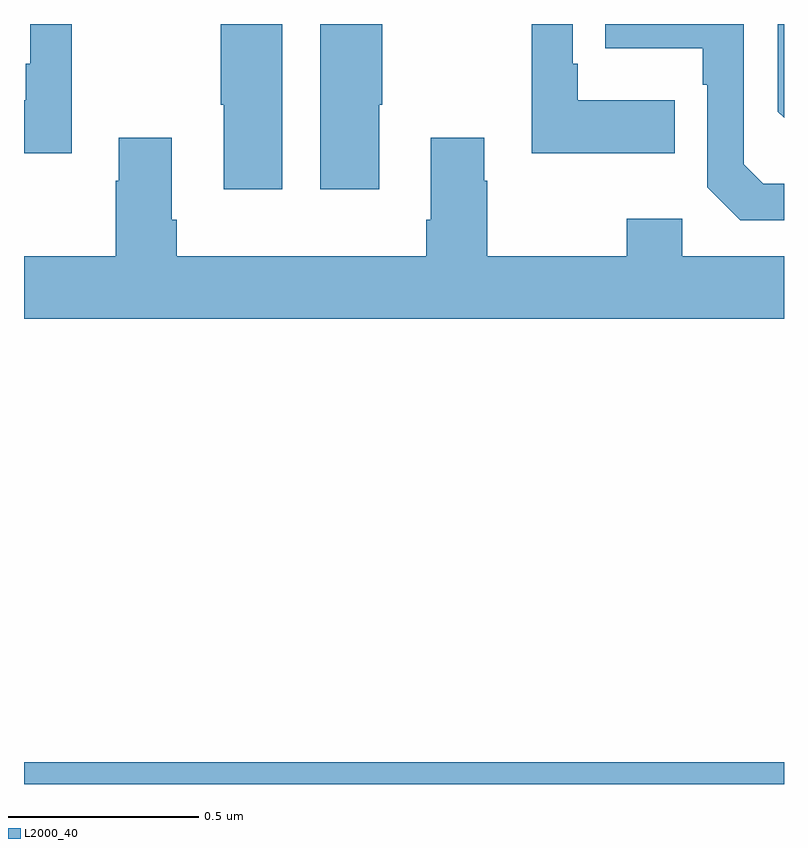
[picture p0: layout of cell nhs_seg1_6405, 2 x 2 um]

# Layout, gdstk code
import gdstk
lib = gdstk.Library(unit=1e-6, precision=1e-09)
def R(c, l, rs):  # rectangles x0, y0, x1, y1
    for r in rs: c.add(gdstk.rectangle(r[:2], r[2:], *l))
def P(c, l, *ps):  # polygons
    for p in ps: c.add(gdstk.Polygon(p, *l))
L2000_40 = (2000, 40)

nhs_seg1_6405 = lib.new_cell('nhs_seg1_6405')
R(nhs_seg1_6405, L2000_40, [(191,525.199,193,525.256)])
P(nhs_seg1_6405, L2000_40, [(193,527.199),(192.984,527.199),(192.984,526.968),(193,526.952)],
  [(192.713,526.999),(192.457,526.999),(192.457,527.095),(192.444,527.095),(192.444,527.199),(192.336,527.199),(192.336,526.859),(192.713,526.859)],
  [(193,526.779),(192.945,526.779),(192.894,526.83),(192.894,527.199),(192.529,527.199),(192.529,527.135),(192.786,527.135),(192.786,527.039),(192.798,527.039),(192.798,526.77),(192.885,526.683),(193,526.683)],
  [(191.68,527.199),(191.518,527.199),(191.518,526.987),(191.525,526.987),(191.525,526.764),(191.68,526.764)],
  [(191.125,527.199),(191.016,527.199),(191.016,527.095),(191.004,527.095),(191.004,526.999),(191,526.999),(191,526.859),(191.125,526.859)],
  [(191.935,526.987),(191.943,526.987),(191.943,527.199),(191.78,527.199),(191.78,526.764),(191.935,526.764)],
  [(193,526.588),(192.732,526.588),(192.732,526.687),(192.586,526.687),(192.586,526.588),(192.219,526.588),(192.219,526.787),(192.211,526.787),(192.211,526.9),(192.071,526.9),(192.071,526.684),(192.059,526.684),(192.059,526.588),(191.402,526.588),(191.402,526.684),(191.389,526.684),(191.389,526.9),(191.249,526.9),(191.249,526.787),(191.242,526.787),(191.242,526.588),(191,526.588),(191,526.424),(193,526.424)])

lib.write_gds('nhs_seg1_6405.gds')
